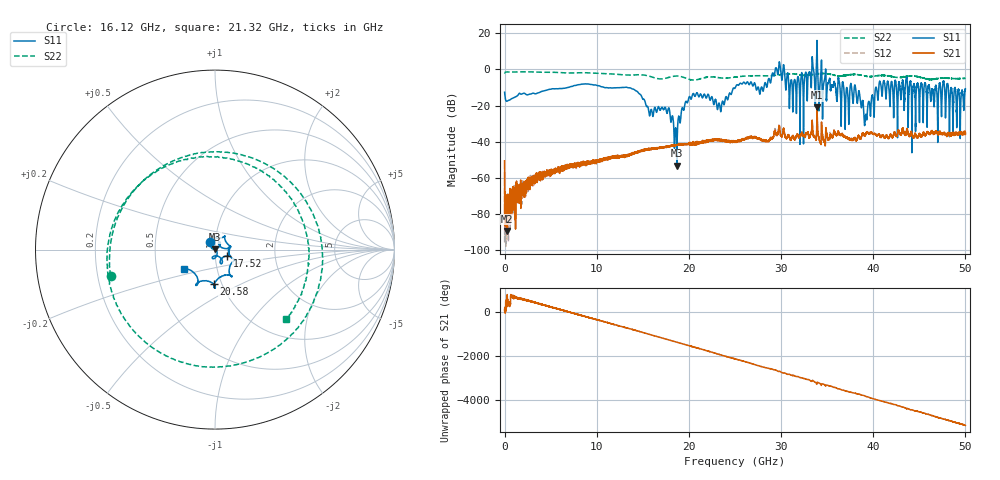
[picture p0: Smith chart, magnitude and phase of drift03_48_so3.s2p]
!Created with skrf (http://scikit-rf.org).
# Hz S RI R 50.0
!freq ReS11 ImS11 ReS21 ImS21 ReS12 ImS12 ReS22 ImS22
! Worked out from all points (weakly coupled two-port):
!   10001 points, 300 kHz to 50 GHz, reference 50 ohm
!   highest |S21| = -20.85 dB at 33.9 GHz (marker M1); lowest = -89.2 dB at 300.3 MHz (marker M2)
!   lowest |S11| = -53.2 dB at 18.7 GHz (marker M3), VSWR 1.00, Z = 50 + j0.217 ohm
!   |S11| at or under -10 dB: start of sweep to 6.945 GHz; 13.32 GHz to 25.05 GHz (11.73 GHz wide, 61.1 % of centre); 38.08 GHz to 40.26 GHz (2.189 GHz wide, 5.59 % of centre) (the widest 3 of 55)
!   |S22| runs from -5.9 to -1.3 dB; largest |S21 - S12| = 0.011
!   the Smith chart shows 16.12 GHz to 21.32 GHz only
!   S11 on the Smith chart (normalised r, x): 16.12 GHz: 0.94, +0.08; 17.52 GHz: 1.15, -0.08; 20.58 GHz: 0.91, -0.36; 21.32 GHz: 0.69, -0.16
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300000  -0.2104 -0.1006  0.000307 0.00298  0.000561 0.00135  -0.7678 -0.1926
3.002982e8  -0.1047 0.0832  2.94e-05 1.84e-05  0.000134 -0.000134  -0.6964 0.4822
1.535291e9  0.2045 0.0434  -0.000102 -0.000433  -0.00021 -0.000599  0.8484 0.0776
3.160281e9  -0.2185 -0.00882  3.14e-05 0.001  0.000164 0.00063  -0.8444 -0.025
4.665272e9  0.2633 0.0615  -0.000124 -0.00114  -6.41e-05 -0.00128  0.8191 0.1425
6.360262e9  -0.2997 0.000287  0.00053 0.00179  0.00056 0.00196  -0.8041 -0.0428
8.33525e9  0.2842 -0.2674  -0.00225 -0.000741  -0.00233 -0.00105  0.6021 -0.5357
9.575243e9  -0.3715 -0.0484  0.00137 0.00223  0.00135 0.0026  -0.7856 -0.0965
1.124523e10  0.3058 0.0235  -0.0024 -0.00255  -0.00197 -0.00285  0.7572 0.0211
1.61202e10  -0.03 0.0426  0.00636 0.00206  0.00626 0.00215  -0.5811 -0.1458
1.66702e10  0.0538 0.0758  0.00466 -0.00482  0.00457 -0.00501  -0.3602 0.4176
1.752019e10  0.0692 -0.0351  -0.00615 -0.00399  -0.00597 -0.00416  0.4892 0.2961
1.869519e10  -0.000181 0.00217  0.00238 0.00777  0.00238 0.00772  -0.0865 -0.6502
2.058018e10  -0.00831 -0.1922  -0.00792 -0.00426  -0.00769 -0.00463  0.3766 0.3397
2.132017e10  -0.17 -0.1082  -0.00535 0.00861  -0.0052 0.00821  0.3977 -0.3893
2.500015e10  -0.2966 -0.0488  0.00799 0.00678  0.0082 0.00648  -0.181 -0.5846
3.051512e10  0.2358 -0.1246  -0.00212 0.0125  -0.00227 0.0126  0.7433 -0.066
3.213011e10  0.201 0.3723  -0.000973 -0.0146  -0.000422 -0.0152  -0.6973 0.00851
3.33351e10  0.4603 -1.001  -0.00502 0.0254  -0.00597 0.0245  0.6125 0.3675
3.38951e10  -0.43 -6.261  0.0892 0.016  0.0801 0.0106  0.679 -0.3215
4.167005e10  -0.2217 0.2842  -0.0118 -0.00479  -0.0117 -0.00521  -0.6553 -0.0581
5e10  -0.1456 -0.2502  -0.000744 -0.0164  0.00158 -0.0173  0.4694 -0.3124
